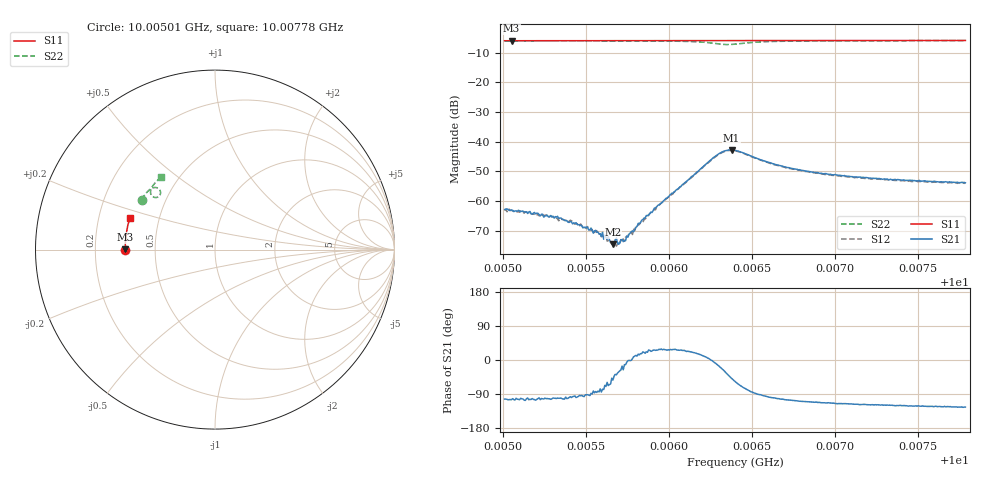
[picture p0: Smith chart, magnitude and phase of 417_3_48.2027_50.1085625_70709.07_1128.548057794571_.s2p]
#  HZ  S  RI  R  50.00
! Rohde & Schwarz Vector Network Analyzer
! Rohde-Schwarz,ZNB20-2Port,1311601062101988,3.16
! Created: UTC 3/20/2024, 11:54:47 AM
! freq[Hz]  re:S11  im:S11  re:S21  im:S21  re:S12  im:S12  re:S22  im:S22
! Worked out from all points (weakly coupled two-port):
!   401 points, 10.00501 GHz to 10.00778 GHz, reference 50 ohm
!   highest |S21| = -42.76 dB at 10.00638 GHz (marker M1); lowest = -74.6 dB at 10.00566 GHz (marker M2)
!   lowest |S11| = -6.0 dB at 10.00505 GHz (marker M3), VSWR 3.00, Z = 16.7 + j0.0485 ohm
!   |S11| at or under -10 dB: nowhere
!   |S22| runs from -7.3 to -6.0 dB; largest |S21 - S12| = 0.00043
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1.0005011e10  -0.4997 -0.00165  -0.000164 -0.000703  -0.000148 -0.000675  -0.4091 0.2781
1.0005053e10  -0.4995 0.00109  -0.000178 -0.000683  -0.000147 -0.000684  -0.4074 0.2806
1.0005247e10  -0.4999 0.0137  -0.000121 -0.000523  -9.55e-05 -0.000572  -0.4 0.2921
1.000533e10  -0.4999 0.0191  -0.000102 -0.000544  -6.79e-05 -0.000494  -0.3967 0.2969
1.0005406e10  -0.4999 0.024  -5.43e-05 -0.000448  -3.28e-05 -0.000475  -0.3935 0.3015
1.0005476e10  -0.4998 0.0286  -2.3e-05 -0.000378  -2.66e-05 -0.000385  -0.3904 0.3056
1.0005587e10  -0.4995 0.0358  6.78e-05 -0.000274  6.6e-05 -0.000271  -0.3852 0.3125
1.0005628e10  -0.4995 0.0384  0.000117 -0.000195  0.000109 -0.000181  -0.3831 0.3149
1.0005642e10  -0.4993 0.0394  9.49e-05 -0.000202  0.000129 -0.00018  -0.3824 0.3159
1.0005663e10  -0.4994 0.0407  0.000113 -0.000149  0.000149 -0.00015  -0.3815 0.317
1.0005698e10  -0.499 0.043  0.00016 -9.8e-05  0.000166 -0.00013  -0.3795 0.3193
1.0005739e10  -0.4989 0.0457  0.00021 -4.57e-05  0.000245 -3.35e-05  -0.3771 0.3219
1.0005829e10  -0.4985 0.0516  0.000417 0.000126  0.000411 0.000145  -0.3715 0.3276
1.000594e10  -0.4981 0.0587  0.000762 0.000413  0.000729 0.000434  -0.3632 0.3349
1.000628e10  -0.495 0.0806  0.00564 -0.000805  0.00553 -0.00053  -0.3061 0.3293
1.0006329e10  -0.4948 0.0834  0.00614 -0.0031  0.00608 -0.00277  -0.3046 0.3086
1.0006377e10  -0.4944 0.0862  0.00483 -0.00544  0.00501 -0.00506  -0.3195 0.2922
1.0006398e10  -0.4941 0.0875  0.00395 -0.00596  0.00415 -0.0056  -0.3285 0.29
1.0006627e10  -0.4923 0.1021  -0.000722 -0.00419  -0.000494 -0.00414  -0.3589 0.3281
1.0006862e10  -0.4895 0.117  -0.00112 -0.00288  -0.000966 -0.00289  -0.3489 0.3521
1.0007327e10  -0.4827 0.1463  -0.00112 -0.00201  -0.00103 -0.00204  -0.3253 0.3805
1.0007785e10  -0.4741 0.1744  -0.00115 -0.00168  -0.00105 -0.0017  -0.3021 0.4023
